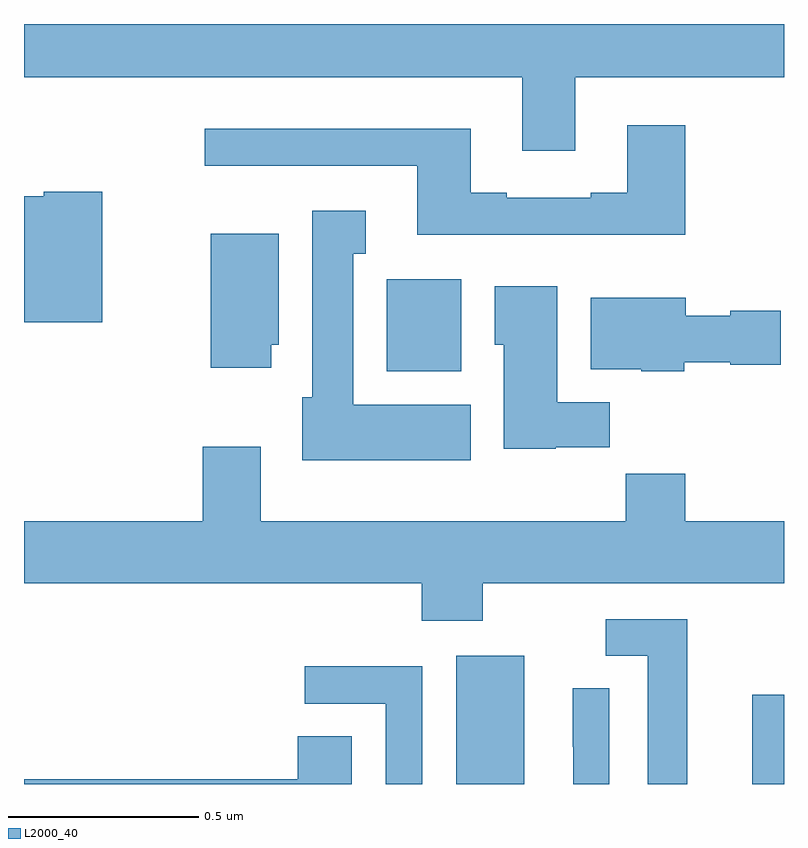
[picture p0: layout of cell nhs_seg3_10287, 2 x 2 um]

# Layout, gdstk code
import gdstk
lib = gdstk.Library(unit=1e-6, precision=1e-09)
def R(c, l, rs):  # rectangles x0, y0, x1, y1
    for r in rs: c.add(gdstk.rectangle(r[:2], r[2:], *l))
def P(c, l, *ps):  # polygons
    for p in ps: c.add(gdstk.Polygon(p, *l))
L2000_40 = (2000, 40)

nhs_seg3_10287 = lib.new_cell('nhs_seg3_10287')
R(nhs_seg3_10287, L2000_40, [(240.137,688.4,240.316,688.738), (240.917,688.4,241,688.635), (239.954,689.486,240.151,689.728)])
P(nhs_seg3_10287, L2000_40, [(240.451,690.26),(241,690.26),(241,690.4),(239,690.4),(239,690.26),(240.311,690.26),(240.311,690.066),(240.451,690.066)],
  [(240.74,690.133),(240.587,690.133),(240.587,689.956),(240.491,689.956),(240.491,689.943),(240.271,689.943),(240.271,689.956),(240.175,689.956),(240.175,690.124),(239.475,690.124),(239.475,690.027),(240.035,690.027),(240.035,689.846),(240.74,689.846)],
  [(239.206,689.959),(239.052,689.959),(239.052,689.947),(239,689.947),(239,689.615),(239.206,689.615)],
  [(240.175,689.398),(239.866,689.398),(239.866,689.795),(239.899,689.795),(239.899,689.908),(239.759,689.908),(239.759,689.418),(239.732,689.418),(239.732,689.252),(240.175,689.252)],
  [(239.65,689.556),(239.671,689.556),(239.671,689.848),(239.492,689.848),(239.492,689.496),(239.65,689.496)],
  [(240.399,689.286),(240.542,689.286),(240.542,689.404),(240.403,689.404),(240.403,689.71),(240.239,689.71),(240.239,689.556),(240.263,689.556),(240.263,689.282),(240.399,689.282)],
  [(240.738,689.51),(240.858,689.51),(240.858,689.503),(240.991,689.503),(240.991,689.645),(240.858,689.645),(240.858,689.632),(240.742,689.632),(240.742,689.68),(240.491,689.68),(240.491,689.492),(240.624,689.492),(240.624,689.486),(240.738,689.486)],
  [(240.207,688.928),(241,688.928),(241,689.092),(240.74,689.092),(240.74,689.216),(240.583,689.216),(240.583,689.092),(239.623,689.092),(239.623,689.287),(239.471,689.287),(239.471,689.092),(239,689.092),(239,688.928),(240.047,688.928),(240.047,688.829),(240.207,688.829)],
  [(240.745,688.833),(240.531,688.833),(240.531,688.737),(240.641,688.737),(240.641,688.4),(240.745,688.4)],
  [(240.048,688.71),(239.739,688.71),(239.739,688.611),(239.952,688.611),(239.952,688.4),(240.048,688.4)],
  [(240.54,688.652),(240.444,688.652),(240.444,688.498),(240.446,688.498),(240.446,688.4),(240.54,688.4)],
  [(239.863,688.526),(239.72,688.526),(239.72,688.412),(239,688.412),(239,688.4),(239.863,688.4)])

lib.write_gds('nhs_seg3_10287.gds')
